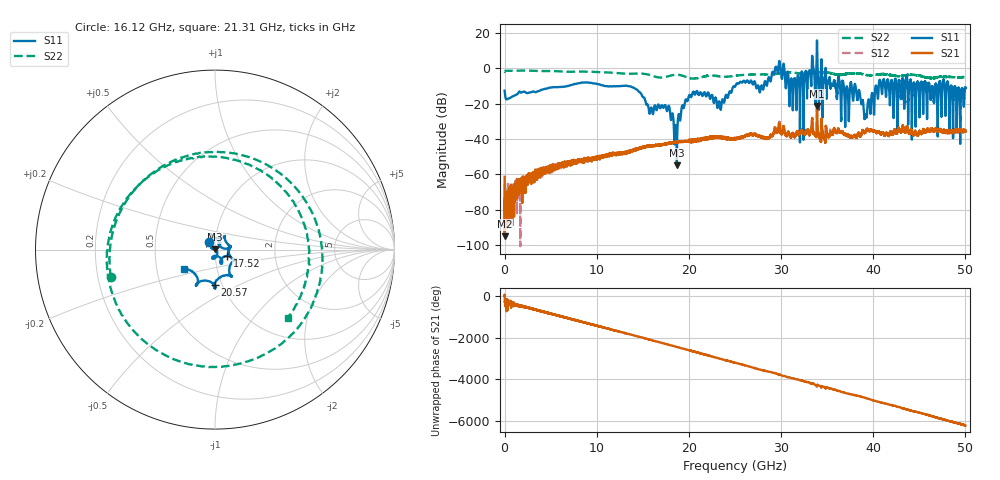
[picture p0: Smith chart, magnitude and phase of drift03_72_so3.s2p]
!Created with skrf (http://scikit-rf.org).
# Hz S RI R 50.0
!freq ReS11 ImS11 ReS21 ImS21 ReS12 ImS12 ReS22 ImS22
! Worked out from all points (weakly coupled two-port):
!   10001 points, 300 kHz to 50 GHz, reference 50 ohm
!   highest |S21| = -21.36 dB at 33.9 GHz (marker M1); lowest = -94.9 dB at 15.3 MHz (marker M2)
!   lowest |S11| = -54.9 dB at 18.69 GHz (marker M3), VSWR 1.00, Z = 49.9 + j0.155 ohm
!   |S11| at or under -10 dB: start of sweep to 6.944 GHz; 13.32 GHz to 25.05 GHz (11.72 GHz wide, 61.1 % of centre); 38.07 GHz to 40.26 GHz (2.186 GHz wide, 5.58 % of centre) (the widest 3 of 55)
!   |S22| runs from -5.9 to -1.3 dB; largest |S21 - S12| = 0.0076
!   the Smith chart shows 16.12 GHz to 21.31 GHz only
!   S11 on the Smith chart (normalised r, x): 16.12 GHz: 0.94, +0.08; 17.52 GHz: 1.14, -0.08; 20.57 GHz: 0.92, -0.38; 21.31 GHz: 0.69, -0.16
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300000  -0.2082 -0.1003  0.000847 8.89e-05  0.000226 -0.000467  -0.7626 -0.2046
1.529991e7  -0.2063 0.0301  -1.79e-05 -1.16e-06  0.000243 0.000192  -0.7927 -0.00269
1.535291e9  0.2048 0.0436  -0.000174 -0.000535  -0.000136 -0.000401  0.8486 0.078
3.160281e9  -0.2187 -0.00853  0.000144 0.00102  4.09e-05 0.000935  -0.8441 -0.0249
4.665272e9  0.2635 0.0611  5.61e-05 -0.00146  -1.08e-05 -0.00122  0.8189 0.1426
6.360262e9  -0.3006 0.000163  0.000797 0.00162  0.000645 0.0019  -0.8039 -0.0433
8.33525e9  0.2838 -0.2676  -0.0021 -0.00111  -0.00213 -0.00092  0.6028 -0.5347
9.575243e9  -0.3718 -0.048  0.00149 0.00234  0.00132 0.00255  -0.7854 -0.0961
1.124523e10  0.3061 0.0229  -0.00219 -0.00277  -0.00248 -0.00254  0.7575 0.0198
1.61152e10  -0.0318 0.0405  0.00607 0.00232  0.00616 0.00202  -0.5796 -0.1519
1.66702e10  0.0541 0.0751  0.00456 -0.00489  0.00453 -0.0048  -0.3615 0.4167
1.752019e10  0.0688 -0.0351  -0.00587 -0.00404  -0.00611 -0.00377  0.4882 0.2957
1.869019e10  -0.000893 0.00156  0.00236 0.00799  0.00241 0.00787  -0.0838 -0.6485
2.056518e10  -0.00256 -0.197  -0.0077 -0.00402  -0.00813 -0.00469  0.367 0.3533
2.131017e10  -0.1725 -0.1092  -0.00548 0.00846  -0.00461 0.00775  0.4058 -0.3794
2.500015e10  -0.2969 -0.0488  0.0083 0.00639  0.00806 0.00664  -0.1841 -0.5815
3.051012e10  0.2487 -0.1062  -0.00246 0.013  -0.00237 0.013  0.7424 -0.0582
3.213011e10  0.2016 0.3756  -0.000407 -0.0145  -0.000431 -0.0146  -0.7005 0.0114
3.33351e10  0.4912 -1.024  -0.00437 0.0264  -0.006 0.025  0.6144 0.3667
3.38951e10  -0.6806 -6.047  0.085 0.00954  0.0818 0.00649  0.6755 -0.3199
4.167005e10  -0.2256 0.2854  -0.0118 -0.00429  -0.0116 -0.00485  -0.6516 -0.0519
5e10  -0.1367 -0.249  0.000724 -0.016  0.000164 -0.016  0.4694 -0.3143
